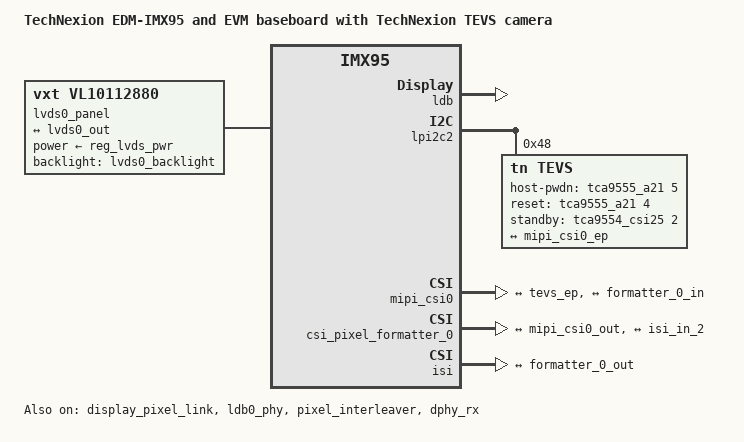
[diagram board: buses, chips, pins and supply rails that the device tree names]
// SPDX-License-Identifier: (GPL-2.0 OR MIT)
/*
 * Copyright 2024 TechNexion Ltd.
 *
 * Author: Richard Hu <richard.hu@technexion.com>
 *
 */

/dts-v1/;

#include "imx95-edm-evm.dts"

/ {
	model = "TechNexion EDM-IMX95 and EVM baseboard with TechNexion TEVS camera";
	compatible = "fsl,imx95-edm", "fsl,imx95";

	reg_lvds_pwr: regulator-lvds-pwr {	/* LVDS0_VDDEN */
		status = "okay";
	};

	lvds0_backlight: backlight {
		status = "okay";
	};

	lvds0_panel {
		compatible = "vxt,vl10112880", "panel-lvds";
		backlight = <&lvds0_backlight>;
		power-supply = <&reg_lvds_pwr>;
		data-mapping = "vesa-24";
		height-mm = <161>;
		width-mm = <243>;
		panel-timing {
			clock-frequency = <71100000>;
			hactive = <1280>;
			vactive = <800>;
			hback-porch = <40>;
			hfront-porch = <40>;
			vback-porch = <10>;
			vfront-porch = <3>;
			hsync-len = <80>;
			vsync-len = <10>;
			de-active = <1>;
		};
		port {
			panel_in: endpoint {
				remote-endpoint = <&lvds0_out>;
			};
		};
	};
};

&display_pixel_link {
	status = "okay";
};

&ldb {
	#address-cells = <1>;
	#size-cells = <0>;
	assigned-clocks = <&scmi_clk IMX95_CLK_LDBPLL_VCO>,
			  <&scmi_clk IMX95_CLK_LDBPLL>;
	assigned-clock-rates = <2986200000>, <497700000>;
	status = "okay";

	channel@0 {
		#address-cells = <1>;
		#size-cells = <0>;
		reg = <0>;
		status = "okay";

		port@1 {
			reg = <1>;

			lvds0_out: endpoint {
				remote-endpoint = <&panel_in>;
			};
		};
	};
};

&ldb0_phy {
	status = "okay";
};

&pixel_interleaver {
	#address-cells = <1>;
	#size-cells = <0>;
	status = "okay";

	channel@0 {
		reg = <0>;
		status = "okay";
	};
};

/* TEVS on MIPI CSI0 */
&lpi2c2 {
	#address-cells = <1>;
	#size-cells = <0>;
	status = "okay";

	tevs: tevs@48 {
		compatible = "tn,tevs";
		reg = <0x48>;
		status = "okay";

		host-pwdn-gpios = <&tca9555_a21 5 GPIO_ACTIVE_HIGH>;
		reset-gpios = <&tca9555_a21 4 GPIO_ACTIVE_HIGH>;
		standby-gpios = <&tca9554_csi25 2 GPIO_ACTIVE_HIGH>;

		port {
			tevs_ep: endpoint {
				remote-endpoint = <&mipi_csi0_ep>;
				data-lanes = <1 2 3 4>;
				clock-lanes = <0>;
				clock-noncontinuous;
				link-frequencies = /bits/ 64 <400000000>;
			};
		};
	};
};

&dphy_rx {
	status = "okay";
};

&mipi_csi0 {
	status = "okay";

	ports {
		#address-cells = <1>;
		#size-cells = <0>;

		port@0 {
			reg = <0>;
			mipi_csi0_ep: endpoint {
				remote-endpoint = <&tevs_ep>;
				data-lanes = <1 2 3 4>;
				clock-lanes = <0>;
			};
		};

		port@1 {
			reg = <1>;
			mipi_csi0_out: endpoint {
				remote-endpoint = <&formatter_0_in>;
			};
		};
	};
};

&csi_pixel_formatter_0 {
	status = "okay";

	ports {
		#address-cells = <1>;
		#size-cells = <0>;

		port@0 {
			reg = <0>;

			formatter_0_in: endpoint {
				remote-endpoint = <&mipi_csi0_out>;
			};
		};

		port@1 {
			reg = <1>;

			formatter_0_out: endpoint {
				remote-endpoint = <&isi_in_2>;
			};
		};
	};
};

&isi {
	status = "okay";

	ports {
		#address-cells = <1>;
		#size-cells = <0>;

		port@2 {
			reg = <2>;

			isi_in_2: endpoint {
				remote-endpoint = <&formatter_0_out>;
			};
		};
	};
};
